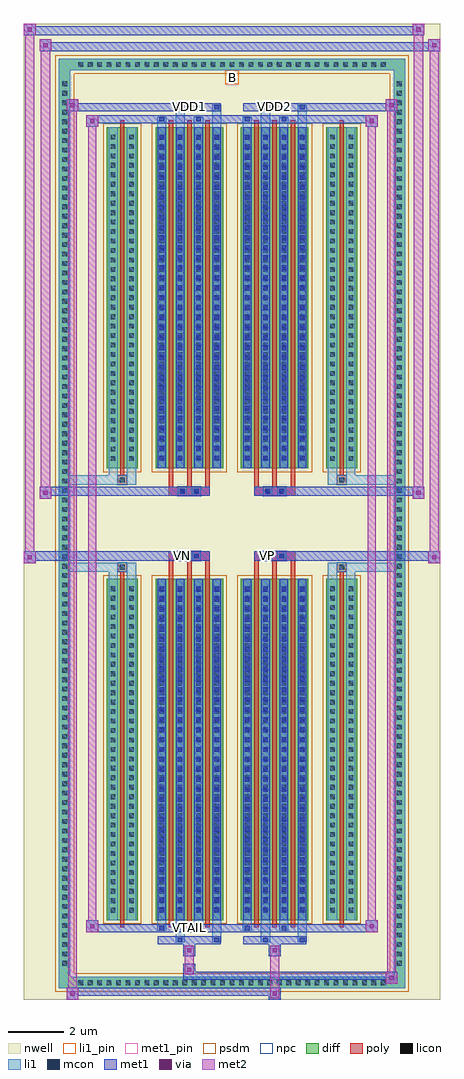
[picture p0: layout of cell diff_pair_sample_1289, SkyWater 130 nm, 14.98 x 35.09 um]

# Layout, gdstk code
import gdstk
lib = gdstk.Library(unit=1e-6, precision=5e-09)
def R(c, l, rs):  # rectangles x0, y0, x1, y1
    for r in rs: c.add(gdstk.rectangle(r[:2], r[2:], *l))
def A(c, l, x, y, w, h, nx, ny, dx, dy):  # array of equal rectangles
    R(c, l, [(x+i*dx, y+j*dy, x+i*dx+w, y+j*dy+h) for i in range(nx) for j in range(ny)])
def P(c, l, *ps):  # polygons
    for p in ps: c.add(gdstk.Polygon(p, *l))
nwell = (64, 20)
diff = (65, 20)
poly = (66, 20)
licon = (66, 44)
li1_pin = (67, 16)
li1 = (67, 20)
mcon = (67, 44)
met1_pin = (68, 16)
met1 = (68, 20)
via = (68, 44)
met2 = (69, 20)
psdm = (94, 20)
npc = (95, 20)

diff_pair_sample_1289 = lib.new_cell('diff_pair_sample_1289')
R(diff_pair_sample_1289, nwell, [(-7.49,-17.11,7.49,17.98), (-4.81,-15.3,-0.01,-0.8), (0.01,-15.3,4.81,-0.8), (-4.81,0.8,-0.01,15.3), (0.01,0.8,4.81,15.3)])
A(diff_pair_sample_1289, diff, -5.645, -16.71, 0.41, 0.41, 33, 2, 0.34, 33.01)
A(diff_pair_sample_1289, diff, -6.22, -16.015, 0.41, 0.41, 1, 94, 0, 0.34)
A(diff_pair_sample_1289, diff, 5.81, -16.015, 0.41, 0.41, 1, 94, 0, 0.34)
R(diff_pair_sample_1289, diff, [(-5.645,-16.71,5.645,-16.3), (-6.22,-16.015,-5.81,16.015), (5.81,-16.015,6.22,16.015), (-4.5,-14.255,-3.39,-1.985), (-2.75,-14.255,-0.32,-1.985), (0.32,-14.255,2.75,-1.985), (3.39,-14.255,4.5,-1.985), (-4.5,1.985,-3.39,14.255), (-2.75,1.985,-0.32,14.255), (0.32,1.985,2.75,14.255), (3.39,1.985,4.5,14.255), (-5.645,16.3,5.645,16.71)])
P(diff_pair_sample_1289, diff, [(6.22,16.71),(-6.22,16.71),(-6.22,-16.3),(-5.81,-16.3),(-5.81,16.3),(5.81,16.3),(5.81,-16.3),(-5.81,-16.3),(-6.22,-16.3),(-6.22,-16.71),(6.22,-16.71)])
A(diff_pair_sample_1289, poly, -2.275, -14.505, 0.16, 12.77, 3, 2, 0.66, 16.24)
A(diff_pair_sample_1289, poly, 0.795, -14.505, 0.16, 12.77, 3, 2, 0.66, 16.24)
A(diff_pair_sample_1289, poly, -2.275, -1.735, 0.16, 0.405, 3, 2, 0.66, 3.065)
A(diff_pair_sample_1289, poly, 0.795, -1.735, 0.16, 0.405, 3, 2, 0.66, 3.065)
R(diff_pair_sample_1289, poly, [(-4.025,-14.505,-3.865,-1.735), (3.865,-14.505,4.025,-1.735), (-4.11,-1.735,-3.78,-1.405), (-4.11,-1.735,-3.78,-1.405), (3.78,-1.735,4.11,-1.405), (3.78,-1.735,4.11,-1.405), (-2.275,-1.33,-0.795,-1), (-1.95,-1.33,-1.62,-1), (-1.45,-1.33,-1.12,-1), (0.795,-1.33,2.275,-1), (1.12,-1.33,1.45,-1), (1.62,-1.33,1.95,-1), (-2.275,1,-0.795,1.33), (-1.95,1,-1.62,1.33), (-1.45,1,-1.12,1.33), (0.795,1,2.275,1.33), (1.12,1,1.45,1.33), (1.62,1,1.95,1.33), (-4.11,1.405,-3.78,1.735), (-4.11,1.405,-3.78,1.735), (3.78,1.405,4.11,1.735), (3.78,1.405,4.11,1.735), (-4.025,1.735,-3.865,14.505), (3.865,1.735,4.025,14.505)])
A(diff_pair_sample_1289, licon, -5.525, -16.59, 0.17, 0.17, 33, 2, 0.34, 33.01)
A(diff_pair_sample_1289, licon, -6.1, -15.895, 0.17, 0.17, 1, 94, 0, 0.34)
A(diff_pair_sample_1289, licon, 5.93, -15.895, 0.17, 0.17, 1, 94, 0, 0.34)
A(diff_pair_sample_1289, licon, -4.36, -13.985, 0.17, 0.17, 1, 35, 0, 0.34)
A(diff_pair_sample_1289, licon, -3.7, -13.985, 0.17, 0.17, 1, 35, 0, 0.34)
A(diff_pair_sample_1289, licon, -2.61, -13.985, 0.17, 0.17, 4, 35, 0.66, 0.34)
A(diff_pair_sample_1289, licon, 0.46, -13.985, 0.17, 0.17, 4, 35, 0.66, 0.34)
A(diff_pair_sample_1289, licon, 3.53, -13.985, 0.17, 0.17, 1, 35, 0, 0.34)
A(diff_pair_sample_1289, licon, 4.19, -13.985, 0.17, 0.17, 1, 35, 0, 0.34)
A(diff_pair_sample_1289, licon, -4.36, 2.255, 0.17, 0.17, 1, 35, 0, 0.34)
A(diff_pair_sample_1289, licon, -3.7, 2.255, 0.17, 0.17, 1, 35, 0, 0.34)
A(diff_pair_sample_1289, licon, -2.61, 2.255, 0.17, 0.17, 4, 35, 0.66, 0.34)
A(diff_pair_sample_1289, licon, 0.46, 2.255, 0.17, 0.17, 4, 35, 0.66, 0.34)
A(diff_pair_sample_1289, licon, 3.53, 2.255, 0.17, 0.17, 1, 35, 0, 0.34)
A(diff_pair_sample_1289, licon, 4.19, 2.255, 0.17, 0.17, 1, 35, 0, 0.34)
R(diff_pair_sample_1289, licon, [(-4.03,-1.655,-3.86,-1.485), (3.86,-1.655,4.03,-1.485), (-1.87,-1.25,-1.7,-1.08), (-1.37,-1.25,-1.2,-1.08), (1.2,-1.25,1.37,-1.08), (1.7,-1.25,1.87,-1.08), (-1.87,1.08,-1.7,1.25), (-1.37,1.08,-1.2,1.25), (1.2,1.08,1.37,1.25), (1.7,1.08,1.87,1.25), (-4.03,1.485,-3.86,1.655), (3.86,1.485,4.03,1.655)])
R(diff_pair_sample_1289, li1_pin, [(-0.25,15.8,0.25,16.3)])
A(diff_pair_sample_1289, li1, -5.605, -16.67, 0.33, 0.33, 33, 2, 0.34, 33.01)
A(diff_pair_sample_1289, li1, -6.18, -15.975, 0.33, 0.33, 1, 94, 0, 0.34)
A(diff_pair_sample_1289, li1, 5.85, -15.975, 0.33, 0.33, 1, 94, 0, 0.34)
A(diff_pair_sample_1289, li1, -2.69, -14.255, 0.33, 12.27, 4, 2, 0.66, 16.24)
A(diff_pair_sample_1289, li1, 0.38, -14.255, 0.33, 12.27, 4, 2, 0.66, 16.24)
A(diff_pair_sample_1289, li1, -4.44, -14.065, 0.33, 0.33, 1, 35, 0, 0.34)
A(diff_pair_sample_1289, li1, -3.78, -14.065, 0.33, 0.33, 1, 35, 0, 0.34)
A(diff_pair_sample_1289, li1, -2.69, -14.065, 0.33, 0.33, 4, 35, 0.66, 0.34)
A(diff_pair_sample_1289, li1, 0.38, -14.065, 0.33, 0.33, 4, 35, 0.66, 0.34)
A(diff_pair_sample_1289, li1, 3.45, -14.065, 0.33, 0.33, 1, 35, 0, 0.34)
A(diff_pair_sample_1289, li1, 4.11, -14.065, 0.33, 0.33, 1, 35, 0, 0.34)
A(diff_pair_sample_1289, li1, -2.61, -13.965, 0.17, 0.17, 4, 33, 0.66, 0.36)
A(diff_pair_sample_1289, li1, -2.61, -13.965, 0.17, 11.69, 4, 2, 0.66, 16.24)
A(diff_pair_sample_1289, li1, 0.46, -13.965, 0.17, 0.17, 4, 33, 0.66, 0.36)
A(diff_pair_sample_1289, li1, 0.46, -13.965, 0.17, 11.69, 4, 2, 0.66, 16.24)
A(diff_pair_sample_1289, li1, -4.44, -1.735, 0.33, 0.33, 3, 2, 0.33, 3.14)
A(diff_pair_sample_1289, li1, 3.45, -1.735, 0.33, 0.33, 3, 2, 0.33, 3.14)
A(diff_pair_sample_1289, li1, -4.44, 2.175, 0.33, 0.33, 1, 35, 0, 0.34)
A(diff_pair_sample_1289, li1, -3.78, 2.175, 0.33, 0.33, 1, 35, 0, 0.34)
A(diff_pair_sample_1289, li1, -2.69, 2.175, 0.33, 0.33, 4, 35, 0.66, 0.34)
A(diff_pair_sample_1289, li1, 0.38, 2.175, 0.33, 0.33, 4, 35, 0.66, 0.34)
A(diff_pair_sample_1289, li1, 3.45, 2.175, 0.33, 0.33, 1, 35, 0, 0.34)
A(diff_pair_sample_1289, li1, 4.11, 2.175, 0.33, 0.33, 1, 35, 0, 0.34)
A(diff_pair_sample_1289, li1, -2.61, 2.275, 0.17, 0.17, 4, 33, 0.66, 0.36)
A(diff_pair_sample_1289, li1, 0.46, 2.275, 0.17, 0.17, 4, 33, 0.66, 0.36)
R(diff_pair_sample_1289, li1, [(-6.22,-16.71,-5.81,-16.3), (-6.22,-16.71,-5.81,-16.3), (-5.81,-16.71,5.81,-16.3), (5.81,-16.71,6.22,-16.3), (5.81,-16.71,6.22,-16.3), (-6.22,-16.3,-5.81,16.3), (5.81,-16.3,6.22,16.3), (-2.03,-15.06,-1.7,-14.255), (-1.95,-15.06,-1.78,-14.89), (-0.71,-15.06,-0.38,-14.255), (-0.63,-15.06,-0.46,-14.89), (1.04,-15.06,1.37,-14.255), (1.12,-15.06,1.29,-14.89), (2.36,-15.06,2.69,-14.255), (2.44,-15.06,2.61,-14.89), (-2.69,-14.63,-2.36,-14.255), (-2.61,-14.63,-2.44,-14.46), (-1.37,-14.63,-1.04,-14.255), (-1.29,-14.63,-1.12,-14.46), (0.38,-14.63,0.71,-14.255), (0.46,-14.63,0.63,-14.46), (1.7,-14.63,2.03,-14.255), (1.78,-14.63,1.95,-14.46), (-4.44,-14.255,-4.11,-1.985), (-3.78,-14.255,-3.45,-1.985), (3.45,-14.255,3.78,-1.985), (4.11,-14.255,4.44,-1.985), (-4.44,-1.985,-4.11,-1.405), (-3.78,-1.985,-3.45,-1.405), (3.45,-1.985,3.78,-1.405), (4.11,-1.985,4.44,-1.405), (-6.22,-1.735,-4.11,-1.405), (3.78,-1.735,6.22,-1.405), (-1.95,-1.33,-1.62,-1), (-1.45,-1.33,-1.12,-1), (1.12,-1.33,1.45,-1), (1.62,-1.33,1.95,-1), (-1.95,1,-1.62,1.33), (-1.45,1,-1.12,1.33), (1.12,1,1.45,1.33), (1.62,1,1.95,1.33), (-6.22,1.405,-4.11,1.735), (-4.44,1.405,-4.11,1.985), (-3.78,1.405,-3.45,1.985), (3.45,1.405,3.78,1.985), (3.78,1.405,6.22,1.735), (4.11,1.405,4.44,1.985), (-4.44,1.985,-4.11,14.255), (-3.78,1.985,-3.45,14.255), (3.45,1.985,3.78,14.255), (4.11,1.985,4.44,14.255), (-2.69,14.255,-2.36,14.63), (-2.03,14.255,-1.7,15.06), (-1.37,14.255,-1.04,14.63), (-0.71,14.255,-0.38,15.06), (0.38,14.255,0.71,14.63), (1.04,14.255,1.37,15.06), (1.7,14.255,2.03,14.63), (2.36,14.255,2.69,15.06), (-2.61,14.46,-2.44,14.63), (-1.29,14.46,-1.12,14.63), (0.46,14.46,0.63,14.63), (1.78,14.46,1.95,14.63), (-1.95,14.89,-1.78,15.06), (-0.63,14.89,-0.46,15.06), (1.12,14.89,1.29,15.06), (2.44,14.89,2.61,15.06), (-6.22,16.3,-5.81,16.71), (-6.22,16.3,-5.81,16.71), (-5.81,16.3,5.81,16.71), (5.81,16.3,6.22,16.71), (5.81,16.3,6.22,16.71)])
A(diff_pair_sample_1289, mcon, -2.61, -13.965, 0.17, 0.17, 4, 33, 0.66, 0.36)
A(diff_pair_sample_1289, mcon, 0.46, -13.965, 0.17, 0.17, 4, 33, 0.66, 0.36)
A(diff_pair_sample_1289, mcon, -2.61, 2.275, 0.17, 0.17, 4, 33, 0.66, 0.36)
A(diff_pair_sample_1289, mcon, 0.46, 2.275, 0.17, 0.17, 4, 33, 0.66, 0.36)
R(diff_pair_sample_1289, mcon, [(-1.95,-15.06,-1.78,-14.89), (-0.63,-15.06,-0.46,-14.89), (1.12,-15.06,1.29,-14.89), (2.44,-15.06,2.61,-14.89), (-2.61,-14.63,-2.44,-14.46), (-1.29,-14.63,-1.12,-14.46), (0.46,-14.63,0.63,-14.46), (1.78,-14.63,1.95,-14.46), (-1.87,-1.25,-1.7,-1.08), (-1.37,-1.25,-1.2,-1.08), (1.2,-1.25,1.37,-1.08), (1.7,-1.25,1.87,-1.08), (-1.87,1.08,-1.7,1.25), (-1.37,1.08,-1.2,1.25), (1.2,1.08,1.37,1.25), (1.7,1.08,1.87,1.25), (-2.61,14.46,-2.44,14.63), (-1.29,14.46,-1.12,14.63), (0.46,14.46,0.63,14.63), (1.78,14.46,1.95,14.63), (-1.95,14.89,-1.78,15.06), (-0.63,14.89,-0.46,15.06), (1.12,14.89,1.29,15.06), (2.44,14.89,2.61,15.06)])
R(diff_pair_sample_1289, met1_pin, [(-1.67,-14.67,-1.4,-14.4), (-1.92,-1.29,-1.65,-1.02), (1.15,-1.29,1.42,-1.02), (-1.67,14.85,-1.4,15.12), (1.4,14.85,1.67,15.12)])
A(diff_pair_sample_1289, met1, -2.67, -14.255, 0.29, 12.27, 4, 2, 0.66, 16.24)
A(diff_pair_sample_1289, met1, 0.4, -14.255, 0.29, 12.27, 4, 2, 0.66, 16.24)
A(diff_pair_sample_1289, met1, -2.67, -14.025, 0.29, 0.29, 4, 33, 0.66, 0.36)
A(diff_pair_sample_1289, met1, 0.4, -14.025, 0.29, 0.29, 4, 33, 0.66, 0.36)
A(diff_pair_sample_1289, met1, -2.67, 2.215, 0.29, 0.29, 4, 33, 0.66, 0.36)
A(diff_pair_sample_1289, met1, 0.4, 2.215, 0.29, 0.29, 4, 33, 0.66, 0.36)
R(diff_pair_sample_1289, met1, [(-5.95,-17.11,-5.52,-16.68), (1.32,-17.11,1.75,-16.68), (-5.95,-16.97,1.75,-16.68), (5.52,-16.54,5.95,-16.11), (-1.75,-16.4,5.95,-16.11), (-1.75,-16.26,-1.32,-15.83), (-1.75,-15.55,-1.32,-15.12), (1.32,-15.55,1.75,-15.12), (-2.67,-15.12,-0.4,-14.83), (-2.01,-15.12,-1.72,-14.83), (-0.69,-15.12,-0.4,-14.83), (0.4,-15.12,2.67,-14.83), (1.06,-15.12,1.35,-14.83), (2.38,-15.12,2.67,-14.83), (-5.24,-14.69,-4.81,-14.26), (-5.24,-14.69,-2.67,-14.4), (-2.67,-14.69,-2.38,-14.4), (-2.67,-14.69,-0.4,-14.4), (-1.35,-14.69,-1.06,-14.4), (-0.4,-14.69,0.4,-14.4), (0.4,-14.69,0.69,-14.4), (0.4,-14.69,2.67,-14.4), (1.72,-14.69,2.01,-14.4), (2.67,-14.69,5.24,-14.4), (4.81,-14.69,5.24,-14.26), (-7.49,-1.43,-7.06,-1), (7.06,-1.43,7.49,-1), (-7.49,-1.33,-0.795,-1), (-2.275,-1.33,-0.795,-1), (0.795,-1.33,2.275,-1), (0.795,-1.33,7.49,-1), (-1.93,-1.31,-1.64,-1.02), (-1.43,-1.31,-1.14,-1.02), (1.14,-1.31,1.43,-1.02), (1.64,-1.31,1.93,-1.02), (-6.92,0.9,-6.49,1.33), (6.49,0.9,6.92,1.33), (-6.92,1,-2.275,1.33), (-2.275,1,-0.795,1.33), (0.795,1,2.275,1.33), (2.275,1,6.92,1.33), (-1.93,1.02,-1.64,1.31), (-1.43,1.02,-1.14,1.31), (1.14,1.02,1.43,1.31), (1.64,1.02,1.93,1.31), (-5.24,14.26,-4.81,14.69), (4.81,14.26,5.24,14.69), (-5.24,14.4,-2.67,14.69), (-2.67,14.4,-2.38,14.69), (-2.67,14.4,-0.4,14.69), (-1.35,14.4,-1.06,14.69), (-0.4,14.4,0.4,14.69), (0.4,14.4,0.69,14.69), (0.4,14.4,2.67,14.69), (1.72,14.4,2.01,14.69), (2.67,14.4,5.24,14.69), (-5.95,14.83,-5.52,15.26), (-5.95,14.83,-2.67,15.12), (-2.67,14.83,-0.4,15.12), (-2.01,14.83,-1.72,15.12), (-0.69,14.83,-0.4,15.12), (0.4,14.83,2.67,15.12), (1.06,14.83,1.35,15.12), (2.38,14.83,2.67,15.12), (2.67,14.83,5.95,15.12), (5.52,14.83,5.95,15.26), (-6.92,16.98,-6.49,17.41), (-6.92,16.98,-4.81,17.31), (-4.81,16.98,4.81,17.31), (4.81,16.98,7.49,17.31), (7.06,16.98,7.49,17.41), (-7.49,17.55,-7.06,17.98), (-7.49,17.55,-4.81,17.88), (-4.81,17.55,4.81,17.88), (4.81,17.55,6.92,17.88), (6.49,17.55,6.92,17.98)])
R(diff_pair_sample_1289, via, [(-5.81,-16.97,-5.66,-16.82), (1.46,-16.97,1.61,-16.82), (5.66,-16.4,5.81,-16.25), (-1.61,-16.12,-1.46,-15.97), (-1.61,-15.41,-1.46,-15.26), (1.46,-15.41,1.61,-15.26), (-5.1,-14.55,-4.95,-14.4), (4.95,-14.55,5.1,-14.4), (-7.35,-1.29,-7.2,-1.14), (7.2,-1.29,7.35,-1.14), (-6.78,1.04,-6.63,1.19), (6.63,1.04,6.78,1.19), (-5.1,14.4,-4.95,14.55), (4.95,14.4,5.1,14.55), (-5.81,14.97,-5.66,15.12), (5.66,14.97,5.81,15.12), (-6.78,17.12,-6.63,17.27), (7.2,17.12,7.35,17.27), (-7.35,17.69,-7.2,17.84), (6.63,17.69,6.78,17.84)])
R(diff_pair_sample_1289, met2, [(-5.95,-17.11,-5.52,-16.68), (-5.88,-17.11,-5.59,15.26), (-5.59,-17.11,-5.52,-16.68), (-5.9,-17.06,-5.57,-16.73), (1.37,-17.06,1.7,-16.73), (1.37,-16.73,1.7,-15.5), (5.52,-16.54,5.95,-16.11), (5.59,-16.54,5.88,15.26), (5.88,-16.54,5.95,-16.11), (5.57,-16.49,5.9,-16.16), (-1.7,-16.21,-1.37,-15.88), (-1.7,-15.88,-1.37,-15.5), (-1.7,-15.5,-1.37,-15.17), (1.37,-15.5,1.7,-15.17), (-5.24,-14.69,-4.81,-14.26), (-5.17,-14.69,-4.88,14.69), (-4.88,-14.69,-4.81,-14.26), (4.81,-14.69,5.24,-14.26), (4.88,-14.69,5.17,14.69), (5.17,-14.69,5.24,-14.26), (-5.19,-14.64,-4.86,-14.31), (4.86,-14.64,5.19,-14.31), (-7.49,-1.43,-7.06,-1), (-7.44,-1.43,-7.11,17.98), (-7.11,-1.43,-7.06,-1), (7.06,-1.43,7.49,-1), (7.11,-1.43,7.44,17.41), (7.44,-1.43,7.49,-1), (-7.44,-1.38,-7.11,-1.05), (7.11,-1.38,7.44,-1.05), (-6.92,0.9,-6.49,1.33), (-6.87,0.9,-6.54,17.41), (-6.54,0.9,-6.49,1.33), (6.49,0.9,6.92,1.33), (6.54,0.9,6.87,17.98), (6.87,0.9,6.92,1.33), (-6.87,0.95,-6.54,1.28), (6.54,0.95,6.87,1.28), (-5.24,14.26,-4.81,14.69), (-4.88,14.26,-4.81,14.69), (4.81,14.26,5.24,14.69), (5.17,14.26,5.24,14.69), (-5.19,14.31,-4.86,14.64), (4.86,14.31,5.19,14.64), (-5.95,14.83,-5.52,15.26), (-5.59,14.83,-5.52,15.26), (5.52,14.83,5.95,15.26), (5.88,14.83,5.95,15.26), (-5.9,14.88,-5.57,15.21), (5.57,14.88,5.9,15.21), (-6.92,16.98,-6.49,17.41), (-6.54,16.98,-6.49,17.41), (7.06,16.98,7.49,17.41), (7.44,16.98,7.49,17.41), (-6.87,17.03,-6.54,17.36), (7.11,17.03,7.44,17.36), (-7.49,17.55,-7.06,17.98), (-7.11,17.55,-7.06,17.98), (6.49,17.55,6.92,17.98), (6.87,17.55,6.92,17.98), (-7.44,17.6,-7.11,17.93), (6.54,17.6,6.87,17.93)])
R(diff_pair_sample_1289, psdm, [(-4.63,-14.385,-3.26,-1.855), (-2.88,-14.385,-0.19,-1.855), (0.19,-14.385,2.88,-1.855), (3.26,-14.385,4.63,-1.855), (-4.63,1.855,-3.26,14.385), (-2.88,1.855,-0.19,14.385), (0.19,1.855,2.88,14.385), (3.26,1.855,4.63,14.385)])
P(diff_pair_sample_1289, psdm, [(6.35,16.84),(-6.35,16.84),(-6.35,-16.17),(-5.68,-16.17),(-5.68,16.17),(5.68,16.17),(5.68,-16.17),(-5.68,-16.17),(-6.35,-16.17),(-6.35,-16.84),(6.35,-16.84)])
R(diff_pair_sample_1289, npc, [(-4.13,-1.755,-3.76,-1.385), (3.76,-1.755,4.13,-1.385), (-1.97,-1.35,-1.6,-0.98), (-1.97,-1.35,-1.1,-0.98), (-1.97,-1.35,-1.1,-0.98), (-1.47,-1.35,-1.1,-0.98), (1.1,-1.35,1.47,-0.98), (1.1,-1.35,1.97,-0.98), (1.1,-1.35,1.97,-0.98), (1.6,-1.35,1.97,-0.98), (-1.97,0.98,-1.6,1.35), (-1.97,0.98,-1.1,1.35), (-1.97,0.98,-1.1,1.35), (-1.47,0.98,-1.1,1.35), (1.1,0.98,1.47,1.35), (1.1,0.98,1.97,1.35), (1.1,0.98,1.97,1.35), (1.6,0.98,1.97,1.35), (-4.13,1.385,-3.76,1.755), (3.76,1.385,4.13,1.755)])
diff_pair_sample_1289.add(gdstk.Label('VTAIL', (-1.535,-14.535), layer=68, texttype=5))
diff_pair_sample_1289.add(gdstk.Label('VN', (-1.785,-1.155), layer=68, texttype=5))
diff_pair_sample_1289.add(gdstk.Label('VP', (1.285,-1.155), layer=68, texttype=5))
diff_pair_sample_1289.add(gdstk.Label('B', (0,16.05), layer=67, texttype=5))
diff_pair_sample_1289.add(gdstk.Label('VDD2', (1.535,14.985), layer=68, texttype=5))
diff_pair_sample_1289.add(gdstk.Label('VDD1', (-1.535,14.985), layer=68, texttype=5))

lib.write_gds('diff_pair_sample_1289.gds')
